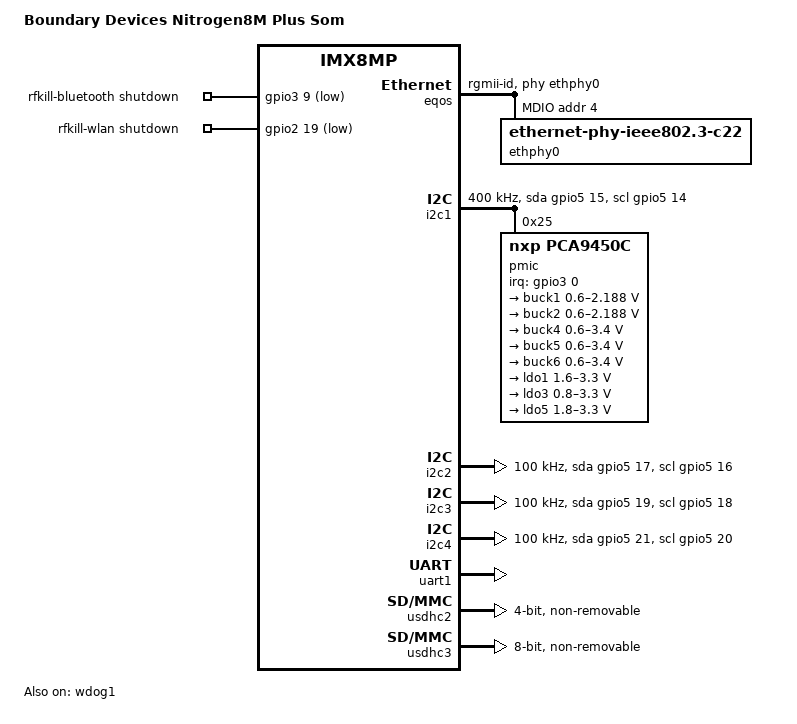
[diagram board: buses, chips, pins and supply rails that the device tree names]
// SPDX-License-Identifier: (GPL-2.0+ OR MIT)
/*
 * Copyright 2020 Boundary Devices
 * Copyright 2025 Collabora Ltd.
 */

#include "imx8mp.dtsi"

/ {
	model = "Boundary Devices Nitrogen8M Plus Som";
	compatible = "boundary,imx8mp-nitrogen-som", "fsl,imx8mp";

	rfkill-bt {
		compatible = "rfkill-gpio";
		label = "rfkill-bluetooth";
		pinctrl-names = "default";
		pinctrl-0 = <&pinctrl_rfkill_bt>;
		radio-type = "bluetooth";
		shutdown-gpios = <&gpio3 9 GPIO_ACTIVE_LOW>;
	};

	rfkill-wlan {
		compatible = "rfkill-gpio";
		label = "rfkill-wlan";
		pinctrl-names = "default";
		pinctrl-0 = <&pinctrl_rfkill_wlan>;
		radio-type = "wlan";
		shutdown-gpios = <&gpio2 19 GPIO_ACTIVE_LOW>;
	};
};

&A53_0 {
	cpu-supply = <&buck2>;
};

&A53_1 {
	cpu-supply = <&buck2>;
};

&A53_2 {
	cpu-supply = <&buck2>;
};

&A53_3 {
	cpu-supply = <&buck2>;
};

&eqos {
	phy-handle = <&ethphy0>;
	phy-mode = "rgmii-id";
	pinctrl-names = "default";
	pinctrl-0 = <&pinctrl_eqos>;
	status = "okay";

	mdio {
		compatible = "snps,dwmac-mdio";
		#address-cells = <1>;
		#size-cells = <0>;

		ethphy0: ethernet-phy@4 {
			compatible = "ethernet-phy-ieee802.3-c22";
			reg = <4>;
			eee-broken-1000t;
		};
	};
};

&i2c1 {
	clock-frequency = <400000>;
	pinctrl-names = "default", "gpio";
	pinctrl-0 = <&pinctrl_i2c1>;
	pinctrl-1 = <&pinctrl_i2c1_gpio>;
	scl-gpios = <&gpio5 14 GPIO_OPEN_DRAIN>;
	sda-gpios = <&gpio5 15 GPIO_OPEN_DRAIN>;
	status = "okay";

	pmic: pmic@25 {
		compatible = "nxp,pca9450c";
		reg = <0x25>;
		interrupt-parent = <&gpio3>;
		interrupts = <0 IRQ_TYPE_LEVEL_LOW>;
		pinctrl-0 = <&pinctrl_pmic>;

		regulators {

			buck1: BUCK1 {
				regulator-name = "VDD_SOC (BUCK1)";
				regulator-always-on;
				regulator-boot-on;
				regulator-max-microvolt = <2187500>;
				regulator-min-microvolt = <600000>;
				regulator-ramp-delay = <3125>;
			};

			buck2: BUCK2 {
				regulator-name = "VDD_ARM (BUCK2)";
				regulator-always-on;
				regulator-boot-on;
				regulator-max-microvolt = <2187500>;
				regulator-min-microvolt = <600000>;
				regulator-ramp-delay = <3125>;
			};

			buck4: BUCK4 {
				regulator-name = "VDD_3P3V (BUCK4)";
				regulator-always-on;
				regulator-boot-on;
				regulator-max-microvolt = <3400000>;
				regulator-min-microvolt = <600000>;
			};

			buck5: BUCK5 {
				regulator-name = "VDD_1P8V (BUCK5)";
				regulator-always-on;
				regulator-boot-on;
				regulator-max-microvolt = <3400000>;
				regulator-min-microvolt = <600000>;
			};

			buck6: BUCK6 {
				regulator-name = "NVCC_DRAM_1P1V (BUCK6)";
				regulator-always-on;
				regulator-boot-on;
				regulator-max-microvolt = <3400000>;
				regulator-min-microvolt = <600000>;
			};

			ldo1: LDO1 {
				regulator-name = "NVCC_SNVS_1V8 (LDO1)";
				regulator-always-on;
				regulator-boot-on;
				regulator-max-microvolt = <3300000>;
				regulator-min-microvolt = <1600000>;
			};

			ldo3: LDO3 {
				regulator-name = "VDDA_1V8 (LDO3)";
				regulator-always-on;
				regulator-boot-on;
				regulator-max-microvolt = <3300000>;
				regulator-min-microvolt = <800000>;
			};

			ldo5: LDO5 {
				regulator-name = "NVCC_SD1 (LDO5)";
				regulator-max-microvolt = <3300000>;
				regulator-min-microvolt = <1800000>;
			};
		};
	};
};

&i2c2 {
	clock-frequency = <100000>;
	pinctrl-names = "default", "gpio";
	pinctrl-0 = <&pinctrl_i2c2>;
	pinctrl-1 = <&pinctrl_i2c2_gpio>;
	scl-gpios = <&gpio5 16 GPIO_OPEN_DRAIN>;
	sda-gpios = <&gpio5 17 GPIO_OPEN_DRAIN>;
	status = "okay";
};

&i2c3 {
	clock-frequency = <100000>;
	pinctrl-names = "default", "gpio";
	pinctrl-0 = <&pinctrl_i2c3>;
	pinctrl-1 = <&pinctrl_i2c3_gpio>;
	scl-gpios = <&gpio5 18 GPIO_OPEN_DRAIN>;
	sda-gpios = <&gpio5 19 GPIO_OPEN_DRAIN>;
	status = "okay";
};

&i2c4 {
	clock-frequency = <100000>;
	pinctrl-names = "default", "gpio";
	pinctrl-0 = <&pinctrl_i2c4>;
	pinctrl-1 = <&pinctrl_i2c4_gpio>;
	scl-gpios = <&gpio5 20 GPIO_OPEN_DRAIN>;
	sda-gpios = <&gpio5 21 GPIO_OPEN_DRAIN>;
	status = "okay";
};

&uart1 {
	pinctrl-names = "default";
	pinctrl-0 = <&pinctrl_uart1>;
	status = "okay";
};

&usdhc2 {
	bus-width = <4>;
	keep-power-in-suspend;
	non-removable;
	pinctrl-names = "default", "state_100mhz", "state_200mhz";
	pinctrl-0 = <&pinctrl_usdhc2>;
	pinctrl-1 = <&pinctrl_usdhc2_100mhz>;
	pinctrl-2 = <&pinctrl_usdhc2_200mhz>;
	status = "okay";
};

&usdhc3 {
	bus-width = <8>;
	non-removable;
	no-mmc-hs400;
	pinctrl-names = "default", "state_100mhz", "state_200mhz";
	pinctrl-0 = <&pinctrl_usdhc3>;
	pinctrl-1 = <&pinctrl_usdhc3_100mhz>;
	pinctrl-2 = <&pinctrl_usdhc3_200mhz>;
	status = "okay";
};

&wdog1 {
	pinctrl-names = "default";
	pinctrl-0 = <&pinctrl_wdog>;
	fsl,ext-reset-output;
	status = "okay";
};

&iomuxc {
	pinctrl_eqos: eqosgrp {
		fsl,pins = <
			MX8MP_IOMUXC_ENET_MDC__ENET_QOS_MDC				0x20
			MX8MP_IOMUXC_ENET_MDIO__ENET_QOS_MDIO				0xa0
			MX8MP_IOMUXC_ENET_RD0__ENET_QOS_RGMII_RD0			0x91
			MX8MP_IOMUXC_ENET_RD1__ENET_QOS_RGMII_RD1			0x91
			MX8MP_IOMUXC_ENET_RD2__ENET_QOS_RGMII_RD2			0x91
			MX8MP_IOMUXC_ENET_RD3__ENET_QOS_RGMII_RD3			0x91
			MX8MP_IOMUXC_ENET_RX_CTL__ENET_QOS_RGMII_RX_CTL			0x91
			MX8MP_IOMUXC_ENET_RXC__CCM_ENET_QOS_CLOCK_GENERATE_RX_CLK	0x91
			MX8MP_IOMUXC_ENET_TD0__ENET_QOS_RGMII_TD0			0x1f
			MX8MP_IOMUXC_ENET_TD1__ENET_QOS_RGMII_TD1			0x1f
			MX8MP_IOMUXC_ENET_TD2__ENET_QOS_RGMII_TD2			0x1f
			MX8MP_IOMUXC_ENET_TD3__ENET_QOS_RGMII_TD3			0x1f
			MX8MP_IOMUXC_ENET_TX_CTL__ENET_QOS_RGMII_TX_CTL			0x1f
			MX8MP_IOMUXC_ENET_TXC__CCM_ENET_QOS_CLOCK_GENERATE_TX_CLK	0x1f

			MX8MP_IOMUXC_NAND_CE1_B__GPIO3_IO02				0x10
			MX8MP_IOMUXC_NAND_READY_B__GPIO3_IO16				0x100
		>;
	};

	pinctrl_i2c1_gpio: i2c1gpiogrp {
		fsl,pins = <
			MX8MP_IOMUXC_I2C1_SCL__GPIO5_IO14	0x1c3
			MX8MP_IOMUXC_I2C1_SDA__GPIO5_IO15	0x1c3
		>;
	};

	pinctrl_i2c1: i2c1grp {
		fsl,pins = <
			MX8MP_IOMUXC_I2C1_SCL__I2C1_SCL		0x400001c3
			MX8MP_IOMUXC_I2C1_SDA__I2C1_SDA		0x400001c3
		>;
	};

	pinctrl_i2c2_gpio: i2c2gpiogrp {
		fsl,pins = <
			MX8MP_IOMUXC_I2C2_SCL__GPIO5_IO16	0x1c3
			MX8MP_IOMUXC_I2C2_SDA__GPIO5_IO17	0x1c3
		>;
	};

	pinctrl_i2c2: i2c2grp {
		fsl,pins = <
			MX8MP_IOMUXC_I2C2_SCL__I2C2_SCL		0x400001c3
			MX8MP_IOMUXC_I2C2_SDA__I2C2_SDA		0x400001c3
		>;
	};

	pinctrl_i2c3_gpio: i2c3gpiogrp {
		fsl,pins = <
			MX8MP_IOMUXC_I2C3_SCL__GPIO5_IO18	0x1c3
			MX8MP_IOMUXC_I2C3_SDA__GPIO5_IO19	0x1c3
		>;
	};

	pinctrl_i2c3: i2c3grp {
		fsl,pins = <
			MX8MP_IOMUXC_I2C3_SCL__I2C3_SCL		0x400001c3
			MX8MP_IOMUXC_I2C3_SDA__I2C3_SDA		0x400001c3
		>;
	};

	pinctrl_i2c4_gpio: i2c4gpiogrp {
		fsl,pins = <
			MX8MP_IOMUXC_I2C4_SCL__GPIO5_IO20	0x1c3
			MX8MP_IOMUXC_I2C4_SDA__GPIO5_IO21	0x1c3
		>;
	};

	pinctrl_i2c4: i2c4grp {
		fsl,pins = <
			MX8MP_IOMUXC_I2C4_SCL__I2C4_SCL		0x400001c3
			MX8MP_IOMUXC_I2C4_SDA__I2C4_SDA		0x400001c3
		>;
	};

	pinctrl_pmic: pmicirqgrp {
		fsl,pins = <
			MX8MP_IOMUXC_NAND_ALE__GPIO3_IO00	0x41
		>;
	};

	pinctrl_rfkill_bt: rfkill-btgrp {
		fsl,pins = <
			MX8MP_IOMUXC_NAND_DATA03__GPIO3_IO09	0x119
		>;
	};

	pinctrl_rfkill_wlan: rfkill-wlangrp {
		fsl,pins = <
			MX8MP_IOMUXC_SD2_RESET_B__GPIO2_IO19	0x16
		>;
	};

	pinctrl_uart1: uart1grp {
		fsl,pins = <
			MX8MP_IOMUXC_UART1_RXD__UART1_DCE_RX	0x140
			MX8MP_IOMUXC_UART1_TXD__UART1_DCE_TX	0x140
			MX8MP_IOMUXC_UART3_RXD__UART1_DCE_CTS	0x140
			MX8MP_IOMUXC_UART3_TXD__UART1_DCE_RTS	0x140
		>;
	};

	pinctrl_usdhc2: usdhc2grp {
		fsl,pins = <
			MX8MP_IOMUXC_SD2_CLK__USDHC2_CLK	0x190
			MX8MP_IOMUXC_SD2_CMD__USDHC2_CMD	0x1d0
			MX8MP_IOMUXC_SD2_DATA0__USDHC2_DATA0	0x1d0
			MX8MP_IOMUXC_SD2_DATA1__USDHC2_DATA1	0x1d0
			MX8MP_IOMUXC_SD2_DATA2__USDHC2_DATA2	0x1d0
			MX8MP_IOMUXC_SD2_DATA3__USDHC2_DATA3	0x1d0
		>;
	};

	pinctrl_usdhc2_100mhz: usdhc2-100mhzgrp {
		fsl,pins = <
			MX8MP_IOMUXC_SD2_CLK__USDHC2_CLK	0x194
			MX8MP_IOMUXC_SD2_CMD__USDHC2_CMD	0x1d4
			MX8MP_IOMUXC_SD2_DATA0__USDHC2_DATA0	0x1d4
			MX8MP_IOMUXC_SD2_DATA1__USDHC2_DATA1	0x1d4
			MX8MP_IOMUXC_SD2_DATA2__USDHC2_DATA2	0x1d4
			MX8MP_IOMUXC_SD2_DATA3__USDHC2_DATA3	0x1d4
		>;
	};

	pinctrl_usdhc2_200mhz: usdhc2-200mhzgrp {
		fsl,pins = <
			MX8MP_IOMUXC_SD2_CLK__USDHC2_CLK	0x196
			MX8MP_IOMUXC_SD2_CMD__USDHC2_CMD	0x1d6
			MX8MP_IOMUXC_SD2_DATA0__USDHC2_DATA0	0x1d6
			MX8MP_IOMUXC_SD2_DATA1__USDHC2_DATA1	0x1d6
			MX8MP_IOMUXC_SD2_DATA2__USDHC2_DATA2	0x1d6
			MX8MP_IOMUXC_SD2_DATA3__USDHC2_DATA3	0x1d6
		>;
	};

	pinctrl_usdhc3: usdhc3grp {
		fsl,pins = <
			MX8MP_IOMUXC_NAND_WE_B__USDHC3_CLK	0x10
			MX8MP_IOMUXC_NAND_WP_B__USDHC3_CMD	0x150
			MX8MP_IOMUXC_NAND_DATA04__USDHC3_DATA0	0x150
			MX8MP_IOMUXC_NAND_DATA05__USDHC3_DATA1	0x150
			MX8MP_IOMUXC_NAND_DATA06__USDHC3_DATA2	0x150
			MX8MP_IOMUXC_NAND_DATA07__USDHC3_DATA3	0x150
			MX8MP_IOMUXC_NAND_RE_B__USDHC3_DATA4	0x150
			MX8MP_IOMUXC_NAND_CE2_B__USDHC3_DATA5	0x150
			MX8MP_IOMUXC_NAND_CE3_B__USDHC3_DATA6	0x150
			MX8MP_IOMUXC_NAND_CLE__USDHC3_DATA7	0x150
			MX8MP_IOMUXC_NAND_CE0_B__GPIO3_IO01	0x140

		>;
	};

	pinctrl_usdhc3_100mhz: usdhc3-100mhzgrp {
		fsl,pins = <
			MX8MP_IOMUXC_NAND_WE_B__USDHC3_CLK	0x14
			MX8MP_IOMUXC_NAND_WP_B__USDHC3_CMD	0x154
			MX8MP_IOMUXC_NAND_DATA04__USDHC3_DATA0	0x154
			MX8MP_IOMUXC_NAND_DATA05__USDHC3_DATA1	0x154
			MX8MP_IOMUXC_NAND_DATA06__USDHC3_DATA2	0x154
			MX8MP_IOMUXC_NAND_DATA07__USDHC3_DATA3	0x154
			MX8MP_IOMUXC_NAND_RE_B__USDHC3_DATA4	0x154
			MX8MP_IOMUXC_NAND_CE2_B__USDHC3_DATA5	0x154
			MX8MP_IOMUXC_NAND_CE3_B__USDHC3_DATA6	0x154
			MX8MP_IOMUXC_NAND_CLE__USDHC3_DATA7	0x154
		>;
	};

	pinctrl_usdhc3_200mhz: usdhc3-200mhzgrp {
		fsl,pins = <
			MX8MP_IOMUXC_NAND_WE_B__USDHC3_CLK	0x12
			MX8MP_IOMUXC_NAND_WP_B__USDHC3_CMD	0x152
			MX8MP_IOMUXC_NAND_DATA04__USDHC3_DATA0	0x152
			MX8MP_IOMUXC_NAND_DATA05__USDHC3_DATA1	0x152
			MX8MP_IOMUXC_NAND_DATA06__USDHC3_DATA2	0x152
			MX8MP_IOMUXC_NAND_DATA07__USDHC3_DATA3	0x152
			MX8MP_IOMUXC_NAND_RE_B__USDHC3_DATA4	0x152
			MX8MP_IOMUXC_NAND_CE2_B__USDHC3_DATA5	0x152
			MX8MP_IOMUXC_NAND_CE3_B__USDHC3_DATA6	0x152
			MX8MP_IOMUXC_NAND_CLE__USDHC3_DATA7	0x152
		>;
	};

	pinctrl_wdog: wdoggrp {
		fsl,pins = <
			MX8MP_IOMUXC_GPIO1_IO02__WDOG1_WDOG_B	0xc6
		>;
	};
};
